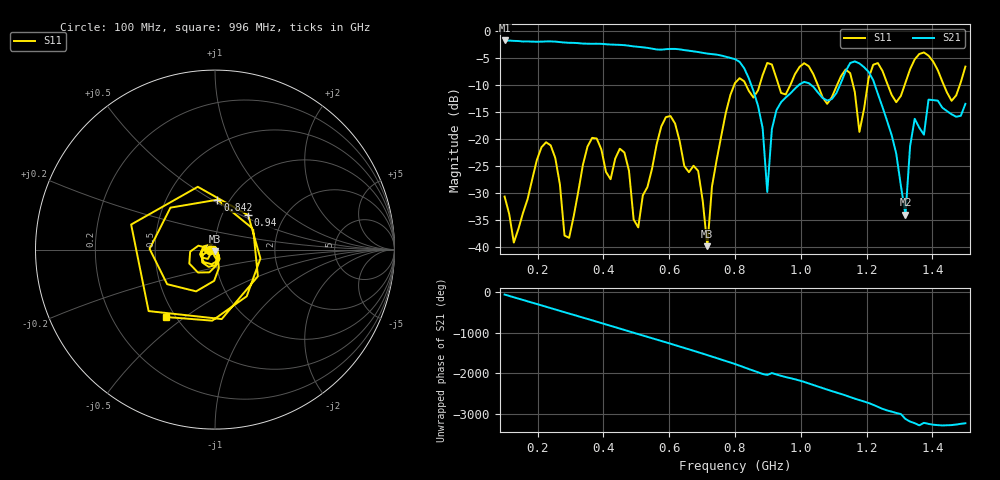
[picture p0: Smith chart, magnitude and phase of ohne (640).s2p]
! NanoVNA-App
! Date: 2025-09-25 14:25:47
! Start: 100MHz Stop: 1,5GHz Points: 101
! S-Parameter data: F S11 S21 S12 S22
# Hz S RI R 50
!  Frequency  S11_Real  S11_Imag  S21_Real  S21_Imag  S12_Real  S12_Imag  S22_Real  S22_Imag
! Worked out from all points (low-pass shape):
!   101 points, 100 MHz to 1.5 GHz, reference 50 ohm
!   highest |S21| = -1.79 dB at 100 MHz (marker M1); lowest = -34.0 dB at 1.318 GHz (marker M2)
!   |S21| within 3 dB of the highest: start of sweep to 771.8 MHz
!   lowest |S11| = -39.8 dB at 716 MHz (marker M3), VSWR 1.02, Z = 49.8 - j0.999 ohm
!   |S11| at or under -10 dB: start of sweep to 797.8 MHz; 833.2 MHz to 875 MHz (41.84 MHz wide, 4.9 % of centre); 1.051 GHz to 1.11 GHz (58.94 MHz wide, 5.45 % of centre) (the widest 3 of 7)
!   S12 and S22 are empty: the file has one direction only
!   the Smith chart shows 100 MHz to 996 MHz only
!   S11 on the Smith chart (normalised r, x): 100 MHz: 0.94, -0.01; 842 MHz: 0.88, +0.53; 940 MHz: 1.33, +0.55; 996 MHz: 0.45, -0.43
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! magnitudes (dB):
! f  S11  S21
! 100 MHz  -30.6  -1.8
! 128 MHz  -39.1  -1.9
! 226 MHz  -20.6  -2.0
! 296 MHz  -38.3  -2.2
! 338 MHz  -24.7  -2.4
! 464 MHz  -22.5  -2.7
! 506 MHz  -36.3  -3.0
! 576 MHz  -17.7  -3.5
! 688 MHz  -25.9  -3.9
! 716 MHz  -39.8  -4.2
! 800 MHz  -9.7  -5.2
! 842 MHz  -11.1  -8.8
! 898 MHz  -5.9  -29.8
! 940 MHz  -11.5  -13.2
! 996 MHz  -6.7  -9.9
! 1.038 GHz  -8.0  -10.3
! 1.178 GHz  -18.7  -6.0
! 1.22 GHz  -6.3  -9.1
! 1.276 GHz  -11.9  -19.3
! 1.318 GHz  -9.6  -34.0
! 1.346 GHz  -5.3  -16.3
! 1.5 GHz  -6.6  -13.5
